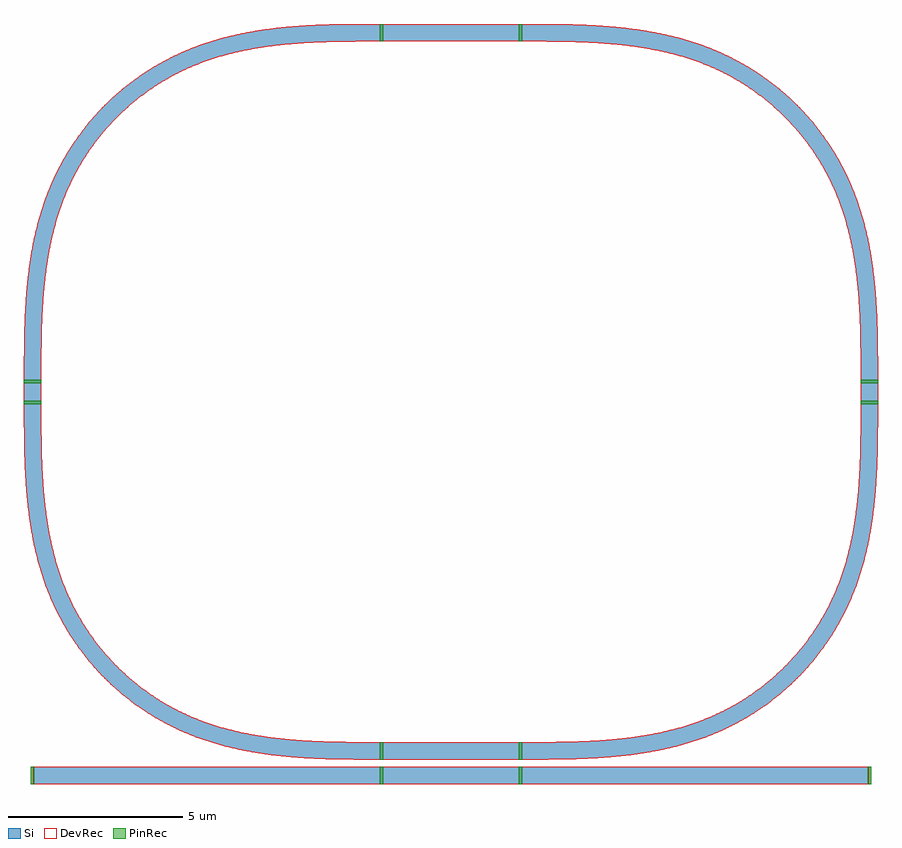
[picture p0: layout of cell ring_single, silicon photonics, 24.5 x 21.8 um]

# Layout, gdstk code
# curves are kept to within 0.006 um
from math import pi, radians
import gdstk
lib = gdstk.Library(unit=1e-6, precision=1e-09)
def R(c, l, rs):  # rectangles x0, y0, x1, y1
    for r in rs: c.add(gdstk.rectangle(r[:2], r[2:], *l))
def P(c, l, *ps):  # polygons
    for p in ps: c.add(gdstk.Polygon(p, *l))
Si = (1, 0)
PinRec = (1, 10)
DevRec = (68, 0)

bend_euler_radius10p0 = lib.new_cell('bend_euler_radius10p0')
P(bend_euler_radius10p0, Si, [(0.047,-0.25),(0.935,-0.247),(1.686,-0.23),(2.346,-0.196),(3.007,-0.136),(3.573,-0.058),(4.229,0.069),(4.739,0.201),(5.261,0.372),(3.041,0.372),(2.449,0.313),(1.761,0.273),(0.929,0.253),(0,0.25),(0,-0.25)],
  [(5.287,0.382),(5.691,0.544),(6.13,0.754),(6.512,0.967),(6.841,1.176),(7.196,1.431),(7.536,1.707),(7.859,2.003),(8.117,2.268),(7.412,2.268),(7.175,2.056),(6.857,1.801),(6.599,1.616),(6.333,1.444),(6.059,1.283),(5.778,1.136),(5.449,0.984),(5.156,0.866),(4.729,0.72),(4.206,0.577),(3.583,0.45),(3.041,0.372),(5.261,0.372)],
  [(8.13,2.282),(8.479,2.689),(8.797,3.119),(9.033,3.488),(9.29,3.957),(9.513,4.444),(9.683,4.894),(9.838,5.4),(9.962,5.911),(9.45,5.911),(9.306,5.357),(9.134,4.844),(8.961,4.427),(8.717,3.941),(8.434,3.476),(8.116,3.035),(7.763,2.621),(7.412,2.268),(8.117,2.268)],
  [(9.972,5.958),(10.058,6.427),(10.113,6.804),(10.156,7.182),(10.196,7.654),(10.236,8.502),(10.25,10),(9.75,10),(9.74,8.654),(9.721,8.101),(9.694,7.643),(9.654,7.186),(9.605,6.778),(9.55,6.417),(9.45,5.911),(9.962,5.911)])
P(bend_euler_radius10p0, DevRec, [(0.047,-0.25),(0.935,-0.247),(1.686,-0.23),(2.346,-0.196),(3.007,-0.136),(3.573,-0.058),(4.229,0.069),(4.739,0.201),(5.261,0.372),(3.041,0.372),(2.449,0.313),(1.761,0.273),(0.929,0.253),(0,0.25),(0,-0.25)],
  [(5.287,0.382),(5.691,0.544),(6.13,0.754),(6.512,0.967),(6.841,1.176),(7.196,1.431),(7.536,1.707),(7.859,2.003),(8.117,2.268),(7.412,2.268),(7.175,2.056),(6.857,1.801),(6.599,1.616),(6.333,1.444),(6.059,1.283),(5.778,1.136),(5.449,0.984),(5.156,0.866),(4.729,0.72),(4.206,0.577),(3.583,0.45),(3.041,0.372),(5.261,0.372)],
  [(8.13,2.282),(8.479,2.689),(8.797,3.119),(9.033,3.488),(9.29,3.957),(9.513,4.444),(9.683,4.894),(9.838,5.4),(9.962,5.911),(9.45,5.911),(9.306,5.357),(9.134,4.844),(8.961,4.427),(8.717,3.941),(8.434,3.476),(8.116,3.035),(7.763,2.621),(7.412,2.268),(8.117,2.268)],
  [(9.972,5.958),(10.058,6.427),(10.113,6.804),(10.156,7.182),(10.196,7.654),(10.236,8.502),(10.25,10),(9.75,10),(9.74,8.654),(9.721,8.101),(9.694,7.643),(9.654,7.186),(9.605,6.778),(9.55,6.417),(9.45,5.911),(9.962,5.911)])
bend_euler_radius10p0.add(gdstk.FlexPath([(0.05,0),(-0.05,0)], 0.5, ends="flush", simple_path=True, layer=1, datatype=10))  # PinRec
bend_euler_radius10p0.add(gdstk.FlexPath([(10,9.95),(10,10.05)], 0.5, ends="flush", simple_path=True, layer=1, datatype=10))  # PinRec
bend_euler_radius10p0.add(gdstk.Label('o1', (0,0), layer=1, texttype=10))
bend_euler_radius10p0.add(gdstk.Label('o2', (10,10), layer=1, texttype=10))

straight = lib.new_cell('straight')
R(straight, Si, [(0,-0.25,10,0.25)])
R(straight, DevRec, [(0,-0.25,10,0.25)])
straight.add(gdstk.FlexPath([(0.05,0),(-0.05,0)], 0.5, ends="flush", simple_path=True, layer=1, datatype=10))  # PinRec
straight.add(gdstk.FlexPath([(9.95,0),(10.05,0)], 0.5, ends="flush", simple_path=True, layer=1, datatype=10))  # PinRec
straight.add(gdstk.Label('o1', (0,0), layer=1, texttype=10))
straight.add(gdstk.Label('o2', (10,0), layer=1, texttype=10))

coupler90 = lib.new_cell('coupler90')
coupler90.add(gdstk.Reference(bend_euler_radius10p0, (0,0.7)))
coupler90.add(gdstk.Reference(straight, (0,0)))

straight_length4p0 = lib.new_cell('straight_length4p0')
R(straight_length4p0, Si, [(0,-0.25,4,0.25)])
R(straight_length4p0, DevRec, [(0,-0.25,4,0.25)])
straight_length4p0.add(gdstk.FlexPath([(0.05,0),(-0.05,0)], 0.5, ends="flush", simple_path=True, layer=1, datatype=10))  # PinRec
straight_length4p0.add(gdstk.FlexPath([(3.95,0),(4.05,0)], 0.5, ends="flush", simple_path=True, layer=1, datatype=10))  # PinRec
straight_length4p0.add(gdstk.Label('o1', (0,0), layer=1, texttype=10))
straight_length4p0.add(gdstk.Label('o2', (4,0), layer=1, texttype=10))

coupler_straight_769ef0d = lib.new_cell('coupler_straight_769ef0d8')
coupler_straight_769ef0d.add(gdstk.Reference(straight_length4p0, (0,0.7)))
coupler_straight_769ef0d.add(gdstk.Reference(straight_length4p0, (0,0)))

coupler_ring_radius10p0 = lib.new_cell('coupler_ring_radius10p0')
coupler_ring_radius10p0.add(gdstk.Reference(coupler90, (-4,0), rotation=pi, x_reflection=True))
coupler_ring_radius10p0.add(gdstk.Reference(coupler90, (0,0)))
coupler_ring_radius10p0.add(gdstk.Reference(coupler_straight_769ef0d, (-4,0)))

straight_length0p6 = lib.new_cell('straight_length0p6')
R(straight_length0p6, Si, [(0,-0.25,0.6,0.25)])
R(straight_length0p6, DevRec, [(0,-0.25,0.6,0.25)])
straight_length0p6.add(gdstk.FlexPath([(0.05,0),(-0.05,0)], 0.5, ends="flush", simple_path=True, layer=1, datatype=10))  # PinRec
straight_length0p6.add(gdstk.FlexPath([(0.55,0),(0.65,0)], 0.5, ends="flush", simple_path=True, layer=1, datatype=10))  # PinRec
straight_length0p6.add(gdstk.Label('o1', (0,0), layer=1, texttype=10))
straight_length0p6.add(gdstk.Label('o2', (0.6,0), layer=1, texttype=10))

ring_single = lib.new_cell('ring_single')
ring_single.add(gdstk.Reference(coupler_ring_radius10p0, (0,0)))
ring_single.add(gdstk.Reference(straight_length0p6, (-14,10.7), rotation=pi/2))
ring_single.add(gdstk.Reference(straight_length0p6, (10,11.3), rotation=3*pi/2))
ring_single.add(gdstk.Reference(bend_euler_radius10p0, (-4,21.3), rotation=pi))
ring_single.add(gdstk.Reference(bend_euler_radius10p0, (10,11.3), rotation=pi/2))
ring_single.add(gdstk.Reference(straight_length4p0, (0,21.3), rotation=pi))

lib.write_gds('ring_single.gds')
